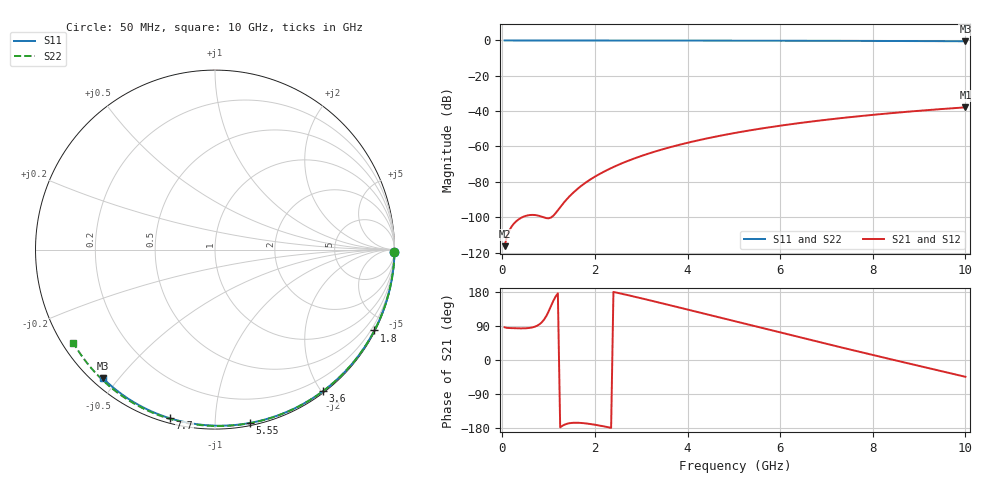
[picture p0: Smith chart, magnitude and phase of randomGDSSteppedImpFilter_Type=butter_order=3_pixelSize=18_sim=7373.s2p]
! freq	dB(S11)	phase(S11)	dB(S12)	phase(S12)
!  dB(S21)	phase(S21)	dB(S22)	phase(S22)
!S-par simulation data
#  GHz  S  DB  R 50
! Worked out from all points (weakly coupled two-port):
!   200 points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, 50 MHz to 10 GHz, reference 50 ohm
!   highest |S21| = -37.85 dB at 10 GHz (marker M1); lowest = -116.4 dB at 50 MHz (marker M2)
!   lowest |S11| = -0.4 dB at 10 GHz (marker M3), VSWR 39.13, Z = 1.54 - j22.6 ohm
!   |S11| at or under -10 dB: nowhere
!   |S22| runs from -0.5 to 0.0 dB; largest |S21 - S12| = 0
!   S11 on the Smith chart (normalised r, x): 50 MHz: open; 1.8 GHz: 0.04, -4.18; 3.6 GHz: 0.02, -2.02; 5.55 GHz: 0.02, -1.22; 7.7 GHz: 0.02, -0.77; 10 GHz: 0.03, -0.45
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0.05  -0.00 -0.8  -116.41 86.4  -116.41 86.4  -0.00 -0.9
0.45  -0.01 -6.8  -99.80 83.5  -99.80 83.5  -0.01 -7.7
0.9  -0.02 -13.6  -100.17 106.3  -100.17 106.3  -0.02 -15.3
1.3  -0.02 -19.5  -92.69 -173.4  -92.69 -173.4  -0.03 -21.9
1.75  -0.03 -26.2  -81.40 -166.6  -81.40 -166.6  -0.04 -29.4
1.8  -0.03 -26.9  -80.45 -167.3  -80.45 -167.3  -0.04 -30.2
1.85  -0.04 -27.6  -79.56 -168.1  -79.56 -168.1  -0.04 -31.0
2.05  -0.04 -30.5  -76.30 -171.9  -76.30 -171.9  -0.04 -34.3
2.2  -0.04 -32.7  -74.17 -175.3  -74.17 -175.3  -0.05 -36.7
2.55  -0.05 -37.8  -69.88 175.6  -69.88 175.6  -0.05 -42.4
2.95  -0.06 -43.5  -65.84 164.4  -65.84 164.4  -0.06 -48.7
3.4  -0.07 -49.8  -62.06 151.1  -62.06 151.1  -0.07 -55.8
3.6  -0.07 -52.6  -60.57 145.2  -60.57 145.2  -0.08 -58.9
4.3  -0.09 -62.1  -56.10 124.0  -56.10 124.0  -0.10 -69.5
5.05  -0.11 -72.1  -52.21 101.2  -52.21 101.2  -0.12 -80.5
5.55  -0.13 -78.5  -50.01 86.1  -50.01 86.1  -0.14 -87.7
6.1  -0.15 -85.5  -47.87 69.5  -47.87 69.5  -0.17 -95.4
6.7  -0.18 -92.9  -45.80 51.6  -45.80 51.6  -0.20 -103.6
7.7  -0.24 -104.9  -42.88 22.0  -42.88 22.0  -0.27 -116.9
8.35  -0.29 -112.5  -41.25 3.1  -41.25 3.1  -0.32 -125.4
9.2  -0.36 -122.2  -39.38 -21.4  -39.38 -21.4  -0.40 -136.3
10  -0.44 -131.2  -37.85 -44.3  -37.85 -44.3  -0.50 -146.6
